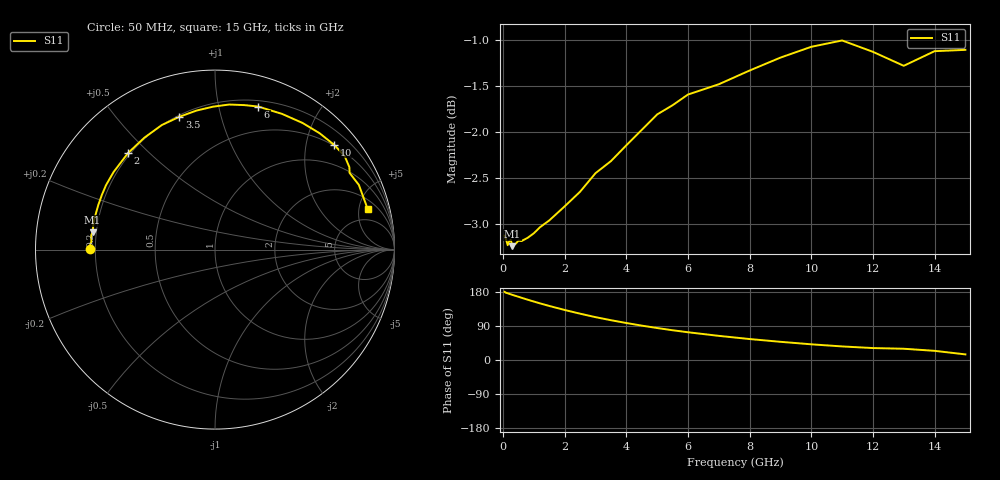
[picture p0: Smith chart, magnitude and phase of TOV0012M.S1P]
! SIEMENS Small Signal Semiconductors
! BAT15-03W
! Si Schottky Diode in SOD323
! IF = 12 mA
! S-Parameters:  May  1996
# GHz  S  MA  R  50
!  f  S11
! GHz  MAG  ANG
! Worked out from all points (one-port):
!   31 points, 50 MHz to 15 GHz, reference 50 ohm
!   lowest |S11| = -3.2 dB at 300 MHz (marker M1), VSWR 5.43, Z = 9.26 + j3.42 ohm
!   |S11| at or under -10 dB: nowhere
!   S11 on the Smith chart (normalised r, x): 50 MHz: 0.18, +0.00; 2 GHz: 0.19, +0.43; 3.5 GHz: 0.21, +0.75; 6 GHz: 0.25, +1.32; 10 GHz: 0.48, +2.57; 15 GHz: 3.09, +6.18
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0.05  0.6979 179.7
0.1  0.6945 177.3
0.15  0.6897 176.2
0.25  0.6942 173.4
0.3  0.6889 171.9
0.5  0.6936 166.8
0.6  0.6933 164.2
0.8  0.6961 159.1
1.2  0.7054 149.4
1.5  0.7114 142.6
2  0.724 132.0
2.5  0.7374 122.2
3  0.7547 113.1
3.5  0.7661 105.0
4  0.7814 97.6
4.5  0.7966 90.7
5  0.8121 84.4
5.5  0.8215 78.5
6  0.8326 73.2
7  0.8433 63.7
8  0.8579 55.3
9  0.8719 48.0
10  0.8837 41.4
11  0.8907 35.8
12  0.8782 31.5
13  0.863 29.7
14  0.8789 24.2
15  0.8803 14.8
